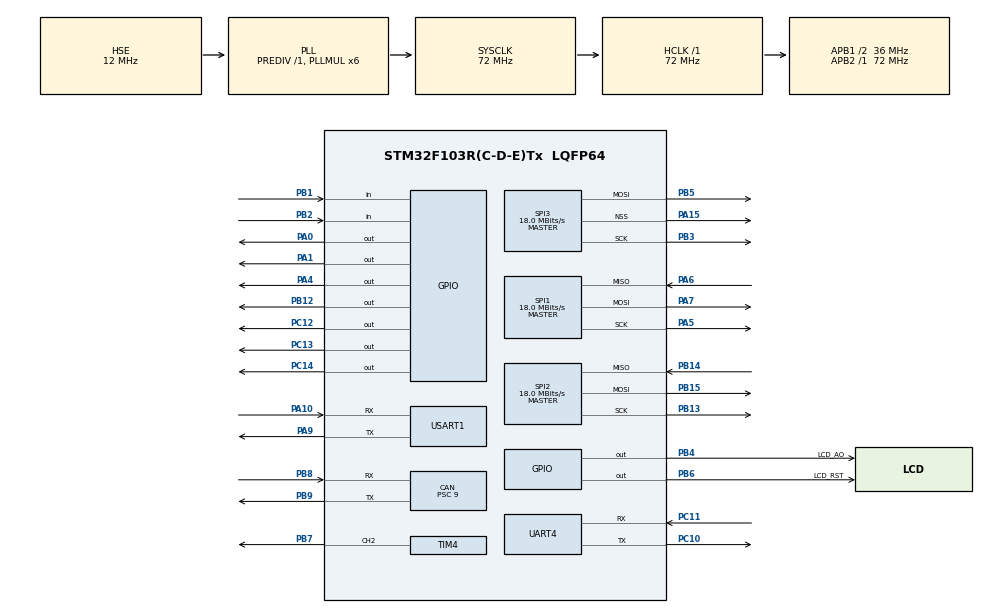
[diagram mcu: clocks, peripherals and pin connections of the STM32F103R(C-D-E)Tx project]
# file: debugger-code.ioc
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CAN.BS1=CAN_BS1_2TQ
CAN.BS2=CAN_BS2_1TQ
CAN.CalculateBaudRate=1000000
CAN.CalculateTimeBit=1000
CAN.CalculateTimeQuantum=250.0
CAN.Prescaler=9
Dma.Request0=SPI3_TX
Dma.SPI3_TX.0.Direction=DMA_MEMORY_TO_PERIPH
Dma.SPI3_TX.0.Instance=DMA2_Channel2
Dma.SPI3_TX.0.MemDataAlignment=DMA_MDATAALIGN_BYTE
Dma.SPI3_TX.0.MemInc=DMA_MINC_ENABLE
Dma.SPI3_TX.0.Mode=DMA_NORMAL
Dma.SPI3_TX.0.PeriphDataAlignment=DMA_PDATAALIGN_BYTE
Dma.SPI3_TX.0.PeriphInc=DMA_PINC_DISABLE
Dma.SPI3_TX.0.Priority=DMA_PRIORITY_LOW
Mcu.Family=STM32F1
Mcu.Name=STM32F103R(C-D-E)Tx
Mcu.Package=LQFP64
NVIC.DMA2_Channel2_IRQn=true\:0\:0\:false\:false\:true\:false\:true\:true
NVIC.PriorityGroup=NVIC_PRIORITYGROUP_4
NVIC.TIM1_UP_IRQn=true\:15\:0\:false\:false\:true\:true\:true\:true
NVIC.TIM6_IRQn=true\:0\:0\:false\:false\:true\:true\:true\:true
NVIC.UART4_IRQn=true\:0\:0\:false\:false\:true\:true\:true\:true
NVIC.USART1_IRQn=true\:0\:0\:false\:false\:true\:true\:true\:true
NVIC.USB_LP_CAN1_RX0_IRQn=true\:0\:0\:false\:false\:true\:true\:true\:true
PA0-WKUP.Signal=GPIO_Output
PA1.Signal=GPIO_Output
PA10.Mode=Asynchronous
PA10.Signal=USART1_RX
PA13.Mode=Serial_Wire
PA13.Signal=SYS_JTMS-SWDIO
PA14.Mode=Serial_Wire
PA14.Signal=SYS_JTCK-SWCLK
PA15.Mode=NSS_Signal_Hard_Output
PA15.Signal=SPI3_NSS
PA4.Signal=GPIO_Output
PA5.Mode=Full_Duplex_Master
PA5.Signal=SPI1_SCK
PA6.Mode=Full_Duplex_Master
PA6.Signal=SPI1_MISO
PA7.Mode=Full_Duplex_Master
PA7.Signal=SPI1_MOSI
PA9.Mode=Asynchronous
PA9.Signal=USART1_TX
PB1.Signal=GPIO_Input
PB12.Signal=GPIO_Output
PB13.Mode=Full_Duplex_Master
PB13.Signal=SPI2_SCK
PB14.Mode=Full_Duplex_Master
PB14.Signal=SPI2_MISO
PB15.Mode=Full_Duplex_Master
PB15.Signal=SPI2_MOSI
PB2.Signal=GPIO_Input
PB3.Mode=TX_Only_Simplex_Unidirect_Master
PB3.Signal=SPI3_SCK
PB4.GPIO_Label=LCD_AO
PB4.Signal=GPIO_Output
PB5.Mode=TX_Only_Simplex_Unidirect_Master
PB5.Signal=SPI3_MOSI
PB6.GPIO_Label=LCD_RST
PB6.Signal=GPIO_Output
PB7.Signal=S_TIM4_CH2
PB8.Mode=CAN_Activate
PB8.Signal=CAN_RX
PB9.Mode=CAN_Activate
PB9.Signal=CAN_TX
PC10.Mode=Asynchronous
PC10.Signal=UART4_TX
PC11.Mode=Asynchronous
PC11.Signal=UART4_RX
PC12.Signal=GPIO_Output
PC13-TAMPER-RTC.Signal=GPIO_Output
PC14-OSC32_IN.Signal=GPIO_Output
PD0-OSC_IN.Mode=HSE-External-Oscillator
PD0-OSC_IN.Signal=RCC_OSC_IN
PD1-OSC_OUT.Mode=HSE-External-Oscillator
PD1-OSC_OUT.Signal=RCC_OSC_OUT
ProjectManager.HeapSize=0x200
ProjectManager.StackSize=0x400
ProjectManager.TargetToolchain=STM32CubeIDE
RCC.ADCPresc=RCC_ADCPCLK2_DIV8
RCC.AHBFreq_Value=72000000
RCC.APB1CLKDivider=RCC_HCLK_DIV2
RCC.APB1Freq_Value=36000000
RCC.APB1TimFreq_Value=72000000
RCC.APB2Freq_Value=72000000
RCC.APB2TimFreq_Value=72000000
RCC.HCLKFreq_Value=72000000
RCC.HSE_VALUE=12000000
RCC.PLLMUL=RCC_PLL_MUL6
RCC.PLLSourceVirtual=RCC_PLLSOURCE_HSE
RCC.SYSCLKFreq_VALUE=72000000
RCC.SYSCLKSource=RCC_SYSCLKSOURCE_PLLCLK
RCC.USBFreq_Value=72000000
SH.S_TIM4_CH2.0=TIM4_CH2,PWM Generation2 CH2
SPI1.BaudRatePrescaler=SPI_BAUDRATEPRESCALER_4
SPI1.CalculateBaudRate=18.0 MBits/s
SPI1.Direction=SPI_DIRECTION_2LINES
SPI1.Mode=SPI_MODE_MASTER
SPI1.VirtualType=VM_MASTER
SPI2.BaudRatePrescaler=SPI_BAUDRATEPRESCALER_2
SPI2.CalculateBaudRate=18.0 MBits/s
SPI2.Direction=SPI_DIRECTION_2LINES
SPI2.Mode=SPI_MODE_MASTER
SPI2.VirtualType=VM_MASTER
SPI3.BaudRatePrescaler=SPI_BAUDRATEPRESCALER_2
SPI3.CLKPhase=SPI_PHASE_1EDGE
SPI3.CalculateBaudRate=18.0 MBits/s
SPI3.DataSize=SPI_DATASIZE_8BIT
SPI3.Direction=SPI_DIRECTION_2LINES
SPI3.FirstBit=SPI_FIRSTBIT_MSB
SPI3.Mode=SPI_MODE_MASTER
SPI3.VirtualNSS=VM_NSSHARD
SPI3.VirtualType=VM_MASTER
TIM1.Period=999
TIM1.Prescaler=71
TIM4.Channel-PWM\ Generation2\ CH2=TIM_CHANNEL_2
TIM4.Period=1000
TIM4.Prescaler=71
TIM4.Pulse-PWM\ Generation2\ CH2=500
TIM6.Period=999
TIM6.Prescaler=63
UART4.VirtualMode=Asynchronous
USART1.VirtualMode=VM_ASYNC
VP_TIM1_VS_ClockSourceINT.Mode=Internal
VP_TIM6_VS_ClockSourceINT.Mode=Enable_Timer
board=custom

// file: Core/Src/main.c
/* USER CODE BEGIN Header */
/**
  ******************************************************************************
  * @file           : main.c
  * @brief          : Main program body
  ******************************************************************************
  * @attention
  *
  * Copyright (c) 2022 STMicroelectronics.
  * All rights reserved.
  *
  * This software is licensed under terms that can be found in the LICENSE file
  * in the root directory of this software component.
  * If no LICENSE file comes with this software, it is provided AS-IS.
  *
  ******************************************************************************
  */
/* USER CODE END Header */

#include "main.h"
#include "can.h"
#include "dma.h"
#include "spi.h"
#include "tim.h"
#include "usart.h"
#include "gpio.h"

/* USER CODE BEGIN Includes */
#include "lcd_init.h"
#include "key.h"
#include "motor.h"
#include "retarget.h"
/* USER CODE END Includes */

/* USER CODE BEGIN PM */
unsigned short x = 0;
unsigned short y = 0;
uint8_t key_Select_flag = 0;
uint8_t key_Verify_flag = 0;
uint8_t key_Enter_flag = 0;
Forms_struct_t forms;
/* USER CODE END PM */

/* USER CODE BEGIN PV */
uint16_t times = 0;
uint16_t twinkles = 0;
extern uint16_t can_id[6];
extern unsigned char lcd_buffer[128 * 160 * 2];

void HAL_TIM_PeriodElapsedCallback(TIM_HandleTypeDef *htim) {
    twinkles++;
    if (twinkles > 1000) {
        HAL_GPIO_TogglePin(GPIOC, GPIO_PIN_13);
        twinkles = 0;

    }
}
/* USER CODE END PV */

void SystemClock_Config(void);

/* USER CODE BEGIN 0 */
void lcdShow();

void lcdShow() {

    while (1) {
        HAL_GPIO_TogglePin(GPIOC, GPIO_PIN_14);
        HAL_Delay(500);
    }

    //gui_clear_screan(C_BLUE);
}
/* USER CODE END 0 */

int main(void) {

    /* MCU Configuration--------------------------------------------------------*/

    /* Reset of all peripherals, Initializes the Flash interface and the Systick. */
    HAL_Init();

    /* Configure the system clock */
    SystemClock_Config();

    /* Initialize all configured peripherals */
    MX_GPIO_Init();
    MX_DMA_Init();
    MX_CAN_Init();
    MX_SPI1_Init();
    MX_UART4_Init();
    MX_USART1_UART_Init();
    MX_SPI2_Init();
    MX_SPI3_Init();
    MX_TIM6_Init();
    MX_TIM4_Init();
    MX_TIM1_Init();
    /* USER CODE BEGIN 2 */
    RetargetInit(&huart1);
    HAL_TIM_Base_Start_IT(&htim1);

    HAL_TIM_PWM_Start(&htim4, TIM_CHANNEL_2);

    can_init();
    gui_config();

    forms.id = 0;
    main_Form_Init();

    //xpt2046_calibrate();
    uint8_t i = 0;
    //gui_image();

    HAL_SPI_Transmit_DMA(&hspi3, (uint8_t *) lcd_buffer, 128 * 160 * 2);

    /* USER CODE END 2 */

    /* Infinite loop */
    while (1) {

        /* USER CODE BEGIN 3 */
        /*��ô�����������*/
        //dail_Form_Init();

        while (1) {
            key_Enter_flag = Enter_Key();
            if (xpt2046_readxy(&x, &y) != 0xFF) {

                x = (unsigned short) ((float) x * (0.0363f) - 8.2952f);
                y = (unsigned short) ((float) y * (0.0492f) - 8.5976f);
                printf("%d,%d\n", x, y);
                break;
            }
            if (key_Enter_flag == 2) {
                key_Verify_flag = 1;
                break;
            }
            if (key_Enter_flag == 1) {
                key_Select_flag = (key_Select_flag + 1) % 5;
                break;
            }

        }
        printf("key=%d\n", key_Enter_flag);
        Form_UpdateEvent();

        // Form_UpdateEvent();
        //        if (forms.id == Main_Form) {
//            main_Form_Load();
//        } else if (forms.id == SusCapDebuger) {
//            Suscap_Debuger_Show_Load();
//        }

        HAL_Delay(10);
        HAL_SPI_Transmit_DMA(&hspi3, (uint8_t *) lcd_buffer, 128 * 160 * 2);
        HAL_Delay(10);
    }
    /* USER CODE END 3 */
}

void SystemClock_Config(void) {
    RCC_OscInitTypeDef RCC_OscInitStruct = {0};
    RCC_ClkInitTypeDef RCC_ClkInitStruct = {0};

    /** Initializes the RCC Oscillators according to the specified parameters
    * in the RCC_OscInitTypeDef structure.
    */
    RCC_OscInitStruct.OscillatorType = RCC_OSCILLATORTYPE_HSE;
    RCC_OscInitStruct.HSEState = RCC_HSE_ON;
    RCC_OscInitStruct.HSEPredivValue = RCC_HSE_PREDIV_DIV1;
    RCC_OscInitStruct.HSIState = RCC_HSI_ON;
    RCC_OscInitStruct.PLL.PLLState = RCC_PLL_ON;
    RCC_OscInitStruct.PLL.PLLSource = RCC_PLLSOURCE_HSE;
    RCC_OscInitStruct.PLL.PLLMUL = RCC_PLL_MUL6;
    if (HAL_RCC_OscConfig(&RCC_OscInitStruct) != HAL_OK) {
        Error_Handler();
    }

    /** Initializes the CPU, AHB and APB buses clocks
    */
    RCC_ClkInitStruct.ClockType = RCC_CLOCKTYPE_HCLK | RCC_CLOCKTYPE_SYSCLK
                                  | RCC_CLOCKTYPE_PCLK1 | RCC_CLOCKTYPE_PCLK2;
    RCC_ClkInitStruct.SYSCLKSource = RCC_SYSCLKSOURCE_PLLCLK;
    RCC_ClkInitStruct.AHBCLKDivider = RCC_SYSCLK_DIV1;
    RCC_ClkInitStruct.APB1CLKDivider = RCC_HCLK_DIV2;
    RCC_ClkInitStruct.APB2CLKDivider = RCC_HCLK_DIV1;

    if (HAL_RCC_ClockConfig(&RCC_ClkInitStruct, FLASH_LATENCY_2) != HAL_OK) {
        Error_Handler();
    }
}

void Error_Handler(void) {
    __disable_irq();
    while (1) {
    }
}
